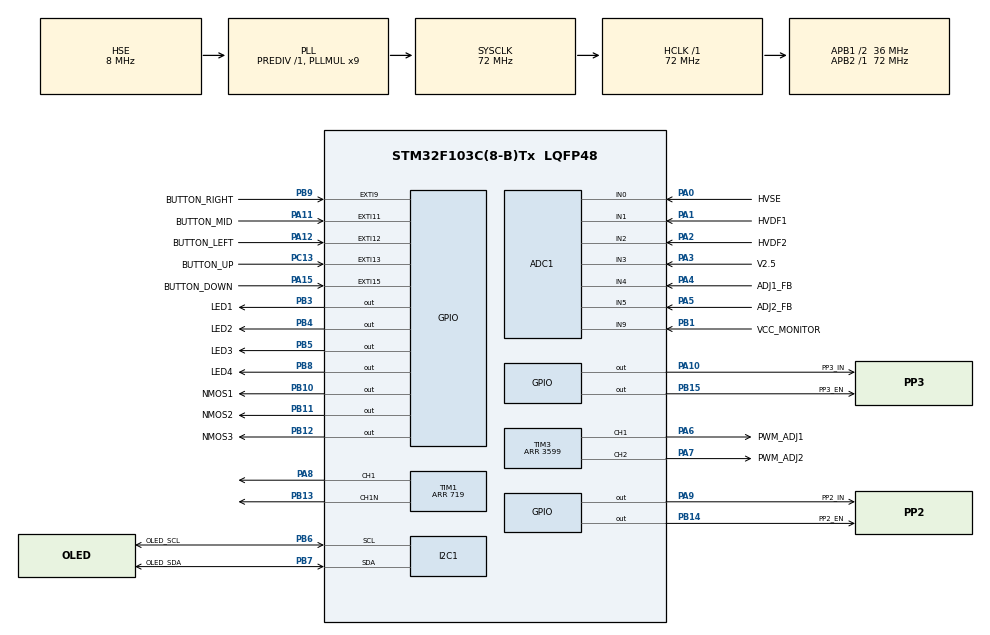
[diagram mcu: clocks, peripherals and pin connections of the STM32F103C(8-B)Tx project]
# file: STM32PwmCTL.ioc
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ADC1.Channel-1\#ChannelRegularConversion=ADC_CHANNEL_0
ADC1.Channel-2\#ChannelRegularConversion=ADC_CHANNEL_1
ADC1.Channel-3\#ChannelRegularConversion=ADC_CHANNEL_2
ADC1.Channel-4\#ChannelRegularConversion=ADC_CHANNEL_3
ADC1.Channel-5\#ChannelRegularConversion=ADC_CHANNEL_4
ADC1.Channel-6\#ChannelRegularConversion=ADC_CHANNEL_5
ADC1.Channel-7\#ChannelRegularConversion=ADC_CHANNEL_9
ADC1.ContinuousConvMode=ENABLE
ADC1.DataAlign=ADC_DATAALIGN_RIGHT
ADC1.NbrOfConversion=7
ADC1.NbrOfConversionFlag=1
ADC1.Rank-1\#ChannelRegularConversion=1
ADC1.Rank-2\#ChannelRegularConversion=2
ADC1.Rank-3\#ChannelRegularConversion=3
ADC1.Rank-4\#ChannelRegularConversion=4
ADC1.Rank-5\#ChannelRegularConversion=5
ADC1.Rank-6\#ChannelRegularConversion=6
ADC1.Rank-7\#ChannelRegularConversion=7
ADC1.SamplingTime-1\#ChannelRegularConversion=ADC_SAMPLETIME_239CYCLES_5
ADC1.SamplingTime-2\#ChannelRegularConversion=ADC_SAMPLETIME_239CYCLES_5
ADC1.SamplingTime-3\#ChannelRegularConversion=ADC_SAMPLETIME_239CYCLES_5
ADC1.SamplingTime-4\#ChannelRegularConversion=ADC_SAMPLETIME_239CYCLES_5
ADC1.SamplingTime-5\#ChannelRegularConversion=ADC_SAMPLETIME_239CYCLES_5
ADC1.SamplingTime-6\#ChannelRegularConversion=ADC_SAMPLETIME_239CYCLES_5
ADC1.SamplingTime-7\#ChannelRegularConversion=ADC_SAMPLETIME_239CYCLES_5
ADC1.master=1
Dma.ADC1.0.Direction=DMA_PERIPH_TO_MEMORY
Dma.ADC1.0.Instance=DMA1_Channel1
Dma.ADC1.0.MemDataAlignment=DMA_MDATAALIGN_HALFWORD
Dma.ADC1.0.MemInc=DMA_MINC_ENABLE
Dma.ADC1.0.Mode=DMA_CIRCULAR
Dma.ADC1.0.PeriphDataAlignment=DMA_PDATAALIGN_HALFWORD
Dma.ADC1.0.PeriphInc=DMA_PINC_DISABLE
Dma.ADC1.0.Priority=DMA_PRIORITY_HIGH
Dma.I2C1_TX.1.Direction=DMA_MEMORY_TO_PERIPH
Dma.I2C1_TX.1.Instance=DMA1_Channel6
Dma.I2C1_TX.1.MemDataAlignment=DMA_MDATAALIGN_BYTE
Dma.I2C1_TX.1.MemInc=DMA_MINC_ENABLE
Dma.I2C1_TX.1.Mode=DMA_NORMAL
Dma.I2C1_TX.1.PeriphDataAlignment=DMA_PDATAALIGN_BYTE
Dma.I2C1_TX.1.PeriphInc=DMA_PINC_DISABLE
Dma.I2C1_TX.1.Priority=DMA_PRIORITY_LOW
Dma.Request0=ADC1
Dma.Request1=I2C1_TX
FREERTOS.BinarySemaphores01=adcDmaSem,Dynamic,NULL,Depleted;i2cTxSem,Dynamic,NULL,Depleted
FREERTOS.Events01=sysEventFlags,Dynamic,NULL
FREERTOS.HEAP_NUMBER=4
FREERTOS.Mutexes01=ADJSetMutex,Dynamic,NULL,Available
FREERTOS.Queues01=buttonQueue,8,8,1,Dynamic,NULL,NULL
FREERTOS.Tasks01=defaultTask,24,128,StartDefaultTask,Default,NULL,Dynamic,NULL,NULL;ADCTask,32,1024,StartADCTask,Default,NULL,Dynamic,NULL,NULL;ControlTask,32,512,StartControlTask,Default,NULL,Dynamic,NULL,NULL;ButtonTask,24,512,StartButtonTask,Default,NULL,Dynamic,NULL,NULL;DisplayTask,16,512,StartDisplayTask,Default,NULL,Dynamic,NULL,NULL
FREERTOS.configMINIMAL_STACK_SIZE=64
FREERTOS.configTOTAL_HEAP_SIZE=12288
I2C1.I2C_Mode=I2C_Standard
Mcu.Family=STM32F1
Mcu.Name=STM32F103C(8-B)Tx
Mcu.Package=LQFP48
NVIC.DMA1_Channel1_IRQn=true\:5\:0\:false\:false\:true\:true\:false\:true\:true
NVIC.DMA1_Channel6_IRQn=true\:5\:0\:false\:false\:true\:true\:false\:true\:true
NVIC.EXTI15_10_IRQn=true\:5\:0\:false\:false\:true\:true\:true\:true\:true
NVIC.EXTI9_5_IRQn=true\:5\:0\:false\:false\:true\:true\:true\:true\:true
NVIC.I2C1_EV_IRQn=true\:5\:0\:false\:false\:true\:true\:true\:true\:true
NVIC.PriorityGroup=NVIC_PRIORITYGROUP_4
PA0-WKUP.GPIO_Label=HVSE
PA0-WKUP.Signal=SharedAnalog_PA0
PA1.GPIO_Label=HVDF1
PA1.Signal=SharedAnalog_PA1
PA10.GPIO_Label=PP3_IN
PA10.PinState=GPIO_PIN_SET
PA10.Signal=GPIO_Output
PA11.GPIO_Label=BUTTON_MID
PA11.GPIO_ModeDefaultEXTI=GPIO_MODE_IT_RISING_FALLING
PA11.GPIO_PuPd=GPIO_PULLUP
PA11.Signal=GPXTI11
PA12.GPIO_Label=BUTTON_LEFT
PA12.GPIO_ModeDefaultEXTI=GPIO_MODE_IT_RISING_FALLING
PA12.GPIO_PuPd=GPIO_PULLUP
PA12.Signal=GPXTI12
PA13.Mode=Serial_Wire
PA13.Signal=SYS_JTMS-SWDIO
PA14.Mode=Serial_Wire
PA14.Signal=SYS_JTCK-SWCLK
PA15.GPIO_Label=BUTTON_DOWN
PA15.GPIO_ModeDefaultEXTI=GPIO_MODE_IT_RISING_FALLING
PA15.GPIO_PuPd=GPIO_PULLUP
PA15.Signal=GPXTI15
PA2.GPIO_Label=HVDF2
PA2.Signal=SharedAnalog_PA2
PA3.GPIO_Label=V2.5
PA3.Signal=SharedAnalog_PA3
PA4.GPIO_Label=ADJ1_FB
PA4.Signal=SharedAnalog_PA4
PA5.GPIO_Label=ADJ2_FB
PA5.Signal=SharedAnalog_PA5
PA6.GPIO_Label=PWM_ADJ1
PA6.Signal=S_TIM3_CH1
PA7.GPIO_Label=PWM_ADJ2
PA7.Signal=S_TIM3_CH2
PA8.Signal=S_TIM1_CH1
PA9.GPIO_Label=PP2_IN
PA9.PinState=GPIO_PIN_SET
PA9.Signal=GPIO_Output
PB1.GPIO_Label=VCC_MONITOR
PB1.Signal=SharedAnalog_PB1
PB10.GPIO_Label=NMOS1
PB10.Signal=GPIO_Output
PB11.GPIO_Label=NMOS2
PB11.Signal=GPIO_Output
PB12.GPIO_Label=NMOS3
PB12.Signal=GPIO_Output
PB13.Mode=PWM Generation1 CH1 CH1N
PB13.Signal=TIM1_CH1N
PB14.GPIO_Label=PP2_EN
PB14.Signal=GPIO_Output
PB15.GPIO_Label=PP3_EN
PB15.Signal=GPIO_Output
PB3.GPIO_Label=LED1
PB3.GPIO_ModeDefaultOutputPP=GPIO_MODE_OUTPUT_PP
PB3.Signal=GPIO_Output
PB4.GPIO_Label=LED2
PB4.GPIO_ModeDefaultOutputPP=GPIO_MODE_OUTPUT_PP
PB4.Signal=GPIO_Output
PB5.GPIO_Label=LED3
PB5.GPIO_ModeDefaultOutputPP=GPIO_MODE_OUTPUT_PP
PB5.Signal=GPIO_Output
PB6.GPIO_Label=OLED_SCL
PB6.Mode=I2C
PB6.Signal=I2C1_SCL
PB7.GPIO_Label=OLED_SDA
PB7.Mode=I2C
PB7.Signal=I2C1_SDA
PB8.GPIO_Label=LED4
PB8.GPIO_ModeDefaultOutputPP=GPIO_MODE_OUTPUT_PP
PB8.Signal=GPIO_Output
PB9.GPIO_Label=BUTTON_RIGHT
PB9.GPIO_ModeDefaultEXTI=GPIO_MODE_IT_RISING_FALLING
PB9.GPIO_PuPd=GPIO_PULLUP
PB9.Signal=GPXTI9
PC13-TAMPER-RTC.GPIO_Label=BUTTON_UP
PC13-TAMPER-RTC.GPIO_ModeDefaultEXTI=GPIO_MODE_IT_RISING_FALLING
PC13-TAMPER-RTC.GPIO_PuPd=GPIO_PULLUP
PC13-TAMPER-RTC.Signal=GPXTI13
PD0-OSC_IN.Mode=HSE-External-Oscillator
PD0-OSC_IN.Signal=RCC_OSC_IN
PD1-OSC_OUT.Mode=HSE-External-Oscillator
PD1-OSC_OUT.Signal=RCC_OSC_OUT
ProjectManager.HeapSize=0x200
ProjectManager.StackSize=0x400
ProjectManager.TargetToolchain=STM32CubeIDE
RCC.ADCPresc=RCC_ADCPCLK2_DIV6
RCC.AHBFreq_Value=72000000
RCC.APB1CLKDivider=RCC_HCLK_DIV2
RCC.APB1Freq_Value=36000000
RCC.APB1TimFreq_Value=72000000
RCC.APB2Freq_Value=72000000
RCC.APB2TimFreq_Value=72000000
RCC.HCLKFreq_Value=72000000
RCC.PLLMUL=RCC_PLL_MUL9
RCC.PLLSourceVirtual=RCC_PLLSOURCE_HSE
RCC.SYSCLKFreq_VALUE=72000000
RCC.SYSCLKSource=RCC_SYSCLKSOURCE_PLLCLK
RCC.USBFreq_Value=72000000
SH.S_TIM1_CH1.0=TIM1_CH1,PWM Generation1 CH1 CH1N
SH.S_TIM3_CH1.0=TIM3_CH1,PWM Generation1 CH1
SH.S_TIM3_CH2.0=TIM3_CH2,PWM Generation2 CH2
SH.SharedAnalog_PA0.0=GPIO_Analog
SH.SharedAnalog_PA0.1=ADC1_IN0,IN0
SH.SharedAnalog_PA1.0=GPIO_Analog
SH.SharedAnalog_PA1.1=ADC1_IN1,IN1
SH.SharedAnalog_PA2.0=GPIO_Analog
SH.SharedAnalog_PA2.1=ADC1_IN2,IN2
SH.SharedAnalog_PA3.0=GPIO_Analog
SH.SharedAnalog_PA3.1=ADC1_IN3,IN3
SH.SharedAnalog_PA4.0=GPIO_Analog
SH.SharedAnalog_PA4.1=ADC1_IN4,IN4
SH.SharedAnalog_PA5.0=GPIO_Analog
SH.SharedAnalog_PA5.1=ADC1_IN5,IN5
SH.SharedAnalog_PB1.0=GPIO_Analog
SH.SharedAnalog_PB1.1=ADC1_IN9,IN9
TIM1.AutomaticOutput=TIM_AUTOMATICOUTPUT_DISABLE
TIM1.Channel-PWM\ Generation1\ CH1=TIM_CHANNEL_1
TIM1.Channel-PWM\ Generation1\ CH1\ CH1N=TIM_CHANNEL_1
TIM1.OCFastMode_PWM-PWM\ Generation1\ CH1\ CH1N=TIM_OCFAST_ENABLE
TIM1.Period=719
TIM1.Pulse-PWM\ Generation1\ CH1\ CH1N=360
TIM3.AutoReloadPreload=TIM_AUTORELOAD_PRELOAD_ENABLE
TIM3.Channel-PWM\ Generation1\ CH1=TIM_CHANNEL_1
TIM3.Channel-PWM\ Generation2\ CH2=TIM_CHANNEL_2
TIM3.Period=3599
VP_FREERTOS_VS_CMSIS_V2.Mode=CMSIS_V2
VP_TIM1_VS_ClockSourceINT.Mode=Internal
board=custom

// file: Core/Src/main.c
/* USER CODE BEGIN Header */
/**
  ******************************************************************************
  * @file           : main.c
  * @brief          : Main program body
  ******************************************************************************
  * @attention
  *
  * Copyright (c) 2025 STMicroelectronics.
  * All rights reserved.
  *
  * This software is licensed under terms that can be found in the LICENSE file
  * in the root directory of this software component.
  * If no LICENSE file comes with this software, it is provided AS-IS.
  *
  ******************************************************************************
  */
/* USER CODE END Header */
#include "main.h"
#include "cmsis_os.h"
#include "adc.h"
#include "dma.h"
#include "i2c.h"
#include "tim.h"
#include "gpio.h"

/* USER CODE BEGIN PD */
extern osSemaphoreId_t i2cTxSemHandle;
/* USER CODE END PD */

void SystemClock_Config(void);
void MX_FREERTOS_Init(void);

int main(void)
{

  /* MCU Configuration--------------------------------------------------------*/

  /* Reset of all peripherals, Initializes the Flash interface and the Systick. */
  HAL_Init();

  /* Configure the system clock */
  SystemClock_Config();

  /* Initialize all configured peripherals */
  MX_GPIO_Init();
  MX_DMA_Init();
  MX_I2C1_Init();
  MX_ADC1_Init();
  MX_TIM3_Init();
  MX_TIM1_Init();

  /* Init scheduler */
  osKernelInitialize();  /* Call init function for freertos objects (in cmsis_os2.c) */
  MX_FREERTOS_Init();

  /* Start scheduler */
  osKernelStart();

  /* We should never get here as control is now taken by the scheduler */

  /* Infinite loop */
  while (1)
  {

  }
}

void SystemClock_Config(void)
{
  RCC_OscInitTypeDef RCC_OscInitStruct = {0};
  RCC_ClkInitTypeDef RCC_ClkInitStruct = {0};
  RCC_PeriphCLKInitTypeDef PeriphClkInit = {0};

  /** Initializes the RCC Oscillators according to the specified parameters
  * in the RCC_OscInitTypeDef structure.
  */
  RCC_OscInitStruct.OscillatorType = RCC_OSCILLATORTYPE_HSE;
  RCC_OscInitStruct.HSEState = RCC_HSE_ON;
  RCC_OscInitStruct.HSEPredivValue = RCC_HSE_PREDIV_DIV1;
  RCC_OscInitStruct.HSIState = RCC_HSI_ON;
  RCC_OscInitStruct.PLL.PLLState = RCC_PLL_ON;
  RCC_OscInitStruct.PLL.PLLSource = RCC_PLLSOURCE_HSE;
  RCC_OscInitStruct.PLL.PLLMUL = RCC_PLL_MUL9;
  if (HAL_RCC_OscConfig(&RCC_OscInitStruct) != HAL_OK)
  {
    Error_Handler();
  }

  /** Initializes the CPU, AHB and APB buses clocks
  */
  RCC_ClkInitStruct.ClockType = RCC_CLOCKTYPE_HCLK|RCC_CLOCKTYPE_SYSCLK
                              |RCC_CLOCKTYPE_PCLK1|RCC_CLOCKTYPE_PCLK2;
  RCC_ClkInitStruct.SYSCLKSource = RCC_SYSCLKSOURCE_PLLCLK;
  RCC_ClkInitStruct.AHBCLKDivider = RCC_SYSCLK_DIV1;
  RCC_ClkInitStruct.APB1CLKDivider = RCC_HCLK_DIV2;
  RCC_ClkInitStruct.APB2CLKDivider = RCC_HCLK_DIV1;

  if (HAL_RCC_ClockConfig(&RCC_ClkInitStruct, FLASH_LATENCY_2) != HAL_OK)
  {
    Error_Handler();
  }
  PeriphClkInit.PeriphClockSelection = RCC_PERIPHCLK_ADC;
  PeriphClkInit.AdcClockSelection = RCC_ADCPCLK2_DIV6;
  if (HAL_RCCEx_PeriphCLKConfig(&PeriphClkInit) != HAL_OK)
  {
    Error_Handler();
  }
}

/* USER CODE BEGIN 4 */
void HAL_I2C_Master_Transmit_CpltCallback(I2C_HandleTypeDef *hi2c) {
    if (hi2c->Instance == I2C1) {
        osSemaphoreRelease(i2cTxSemHandle);
    }
}
/* USER CODE END 4 */

void Error_Handler(void)
{
  __disable_irq();
  while (1)
  {
  }
}

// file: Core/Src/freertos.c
/* USER CODE BEGIN Header */
/**
  ******************************************************************************
  * File Name          : freertos.c
  * Description        : Code for freertos applications
  ******************************************************************************
  * @attention
  *
  * Copyright (c) 2025 STMicroelectronics.
  * All rights reserved.
  *
  ******************************************************************************
  */
/* USER CODE END Header */

#include "FreeRTOS.h"
#include "task.h"
#include "main.h"
#include "cmsis_os.h"

/* USER CODE BEGIN Includes */
#include "power_switch.h"
#include "shared_data.h"
#include "adc.h"
#include "tim.h"
#include <string.h>
#include "LED.h"
#include "u8g2.h"
#include <stdio.h>
#include <stdbool.h>
#include <math.h>
/* USER CODE END Includes */

/* USER CODE BEGIN PD */

/* ====== 数控电源参数（按你描述）====== */
/* 输出级：Vout = 8 * Vref_equiv；Vref_equiv 来自 PWM 经 RC 滤波形成的等效 DAC 电压 */
#define PSU_GAIN_OUT              (8.0f)

/* 反馈分压：Vfb = Vout * (R_BOT / (R_TOP + R_BOT)) */
#define FB_R_TOP_OHM              (30000.0f)
#define FB_R_BOT_OHM              (1800.0f)

/* ADC 量化：按你说“满量程 4096”，这里用 4096.0f（STM32 12bit 实际满量程码为 4095） */
#define ADC_FULL_SCALE_F          (4096.0f)

/* PA3：2.5V 标定电压芯片（用于推算 VDDA/3.3V） */
#define VREF_CAL_VOLT             (2.500f)

/* 输出电压设定范围（按常见 0~24V，若你硬件不同可改） */
#define VSET_MIN_V                (0.0f)
#define VSET_MAX_V                (24.0f)

/* 控制周期（ControlTask） */
#define CTRL_PERIOD_MS            (10U)
#define CTRL_DT_S                 (0.010f)

/* 积分参数（前馈 + 慢积分补偿）
   error 单位: V，积分输出单位: duty (0..1)
   integ += Ki * error * dt
*/
#define CTRL_KI                   (0.25f)   /* 可按实际响应调：小则更稳但更慢 */
#define INTEG_LIMIT               (0.25f)   /* 积分限幅，防 windup */

/* Duty 限幅 */
#define DUTY_MIN                  (0.0f)
#define DUTY_MAX                  (1.0f)

/* ADC 低通滤波（EMA）alpha：越小越慢、越稳 */
#define ADC_EMA_ALPHA             (0.05f)

/* USER CODE END PD */

/* USER CODE BEGIN Variables */

/* ====== 共享：设定值 / 测量值 / duty（用 mutex 保护）====== */
static float s_vset_v = 12.0f;      /* 设定输出电压 */
static float s_vout_v = 0.0f;       /* 测得输出电压 */
static float s_vfb_v  = 0.0f;       /* 测得反馈点电压（PA4） */
static float s_vdda_v = 3.30f;      /* 推算的 VDDA（ADC 参考 & PWM 高电平） */
static float s_duty_cmd = 0.0f;     /* 最终输出占空比（写 TIM1 CH1） */

/* EMA 状态（内部用，无需 mutex：仅 ADCTask 写，Control/UI 读时用 mutex 拷贝即可） */
static float s_ema_v25_adc = 0.0f;  /* PA3 ADC 原码 EMA */
static float s_ema_vfb_adc = 0.0f;  /* PA4 ADC 原码 EMA */

/* 控制积分项 */
static float s_integ = 0.0f;

/* USER CODE END Variables */
/* Definitions for defaultTask */
osThreadId_t defaultTaskHandle;
const osThreadAttr_t defaultTask_attributes = {
  .name = "defaultTask",
  .stack_size = 128 * 4,
  .priority = (osPriority_t) osPriorityNormal,
};
/* Definitions for ADCTask */
osThreadId_t ADCTaskHandle;
const osThreadAttr_t ADCTask_attributes = {
  .name = "ADCTask",
  .stack_size = 1024 * 4,
  .priority = (osPriority_t) osPriorityAboveNormal,
};
/* Definitions for ControlTask */
osThreadId_t ControlTaskHandle;
const osThreadAttr_t ControlTask_attributes = {
  .name = "ControlTask",
  .stack_size = 512 * 4,
  .priority = (osPriority_t) osPriorityAboveNormal,
};
/* Definitions for ButtonTask */
osThreadId_t ButtonTaskHandle;
const osThreadAttr_t ButtonTask_attributes = {
  .name = "ButtonTask",
  .stack_size = 512 * 4,
  .priority = (osPriority_t) osPriorityNormal,
};
/* Definitions for DisplayTask */
osThreadId_t DisplayTaskHandle;
const osThreadAttr_t DisplayTask_attributes = {
  .name = "DisplayTask",
  .stack_size = 512 * 4,
  .priority = (osPriority_t) osPriorityBelowNormal,
};
/* Definitions for buttonQueue */
osMessageQueueId_t buttonQueueHandle;
const osMessageQueueAttr_t buttonQueue_attributes = {
  .name = "buttonQueue"
};
/* Definitions for ADJSetMutex */
osMutexId_t ADJSetMutexHandle;
const osMutexAttr_t ADJSetMutex_attributes = {
  .name = "ADJSetMutex"
};
/* Definitions for adcDmaSem */
osSemaphoreId_t adcDmaSemHandle;
const osSemaphoreAttr_t adcDmaSem_attributes = {
  .name = "adcDmaSem"
};
/* Definitions for i2cTxSem */
osSemaphoreId_t i2cTxSemHandle;
const osSemaphoreAttr_t i2cTxSem_attributes = {
  .name = "i2cTxSem"
};
/* Definitions for sysEventFlags */
osEventFlagsId_t sysEventFlagsHandle;
const osEventFlagsAttr_t sysEventFlags_attributes = {
  .name = "sysEventFlags"
};

/* USER CODE BEGIN Variables_Extra */
/* （可选）如你想把测量/设定拆开 mutex，也可以新增；这里复用 ADJSetMutexHandle 统一保护 */
/* USER CODE END Variables_Extra */

/* USER CODE BEGIN FunctionPrototypes */
static inline float clampf(float x, float lo, float hi)
{
  if (x < lo) return lo;
  if (x > hi) return hi;
  return x;
}

static inline float ema_update(float prev, float x, float a)
{
  return prev + a * (x - prev);
}
/* USER CODE END FunctionPrototypes */

void StartDefaultTask(void *argument);
void StartADCTask(void *argument);
void StartControlTask(void *argument);
void StartButtonTask(void *argument);
void StartDisplayTask(void *argument);

void MX_FREERTOS_Init(void); /* (MISRA C 2004 rule 8.1) */

void MX_FREERTOS_Init(void) {

  /* Create the mutex(es) */
  /* creation of ADJSetMutex */
  ADJSetMutexHandle = osMutexNew(&ADJSetMutex_attributes);

  /* Create the semaphores(s) */
  /* creation of adcDmaSem */
  adcDmaSemHandle = osSemaphoreNew(1, 0, &adcDmaSem_attributes);

  /* creation of i2cTxSem */
  i2cTxSemHandle = osSemaphoreNew(1, 0, &i2cTxSem_attributes);

  /* Create the queue(s) */
  /* creation of buttonQueue */
  buttonQueueHandle = osMessageQueueNew (8, 8, &buttonQueue_attributes);

  /* Create the thread(s) */
  /* creation of defaultTask */
  defaultTaskHandle = osThreadNew(StartDefaultTask, NULL, &defaultTask_attributes);

  /* creation of ADCTask */
  ADCTaskHandle = osThreadNew(StartADCTask, NULL, &ADCTask_attributes);

  /* creation of ControlTask */
  ControlTaskHandle = osThreadNew(StartControlTask, NULL, &ControlTask_attributes);

  /* creation of ButtonTask */
  ButtonTaskHandle = osThreadNew(StartButtonTask, NULL, &ButtonTask_attributes);

  /* creation of DisplayTask */
  DisplayTaskHandle = osThreadNew(StartDisplayTask, NULL, &DisplayTask_attributes);

  /* creation of sysEventFlags */
  sysEventFlagsHandle = osEventFlagsNew(&sysEventFlags_attributes);

}

void StartDefaultTask(void *argument)
{
  /* USER CODE BEGIN StartDefaultTask */
  for(;;)
  {
    osDelay(1000);
  }
  /* USER CODE END StartDefaultTask */
}

/* USER CODE BEGIN Header_StartADCTask */
/**
* @brief Function implementing the ADCTask thread.
*        - 启动 ADC1 DMA 循环采样
*        - 使用 PA3(2.5V) 推算 VDDA
*        - 使用 PA4(FB) 计算 Vout
*        - 对 ADC 原码做 EMA 滤波
* @param argument: Not used
* @retval None
*/
/* USER CODE END Header_StartADCTask */
void StartADCTask(void *argument)
{
  /* USER CODE BEGIN StartADCTask */

  /* adc.c 里定义的 DMA 缓冲区（7通道） */
  extern uint16_t adc_buffer[7];
  extern ADC_HandleTypeDef hadc1;

  /* ADC 校准（F1 支持） */
  (void)HAL_ADCEx_Calibration_Start(&hadc1);

  /* 启动 DMA */
  if (HAL_ADC_Start_DMA(&hadc1, (uint32_t*)adc_buffer, 7) != HAL_OK) {
    /* 如果启动失败，仍然让任务跑着，避免系统卡死 */
  }

  /* 初始化 EMA 为当前值，避免启动时跳变 */
  osDelay(50);
  {
    float a25 = (float)adc_buffer[3]; /* Rank4: ADC_CHANNEL_3 -> PA3 -> V2_5 */
    float afb = (float)adc_buffer[4]; /* Rank5: ADC_CHANNEL_4 -> PA4 -> Feedback */
    s_ema_v25_adc = a25;
    s_ema_vfb_adc = afb;
  }

  for (;;)
  {
    /* 等待 DMA half/full 完成回调释放信号量（你在 adc.c 的 ConvCpltCallback 里 release 了） */
    if (osSemaphoreAcquire(adcDmaSemHandle, osWaitForever) != osOK) {
      continue;
    }

    /* 取本次 DMA buffer 的目标通道 */
    float adc_v25 = (float)adc_buffer[3];  /* PA3 */
    float adc_vfb = (float)adc_buffer[4];  /* PA4 */

    /* EMA 滤波（对 ADC 原码做） */
    s_ema_v25_adc = ema_update(s_ema_v25_adc, adc_v25, ADC_EMA_ALPHA);
    s_ema_vfb_adc = ema_update(s_ema_vfb_adc, adc_vfb, ADC_EMA_ALPHA);

    /* 用 2.5V 推算 VDDA（ADC参考/供电） */
    float vdda = s_vdda_v;
    if (s_ema_v25_adc > 1.0f) {
      vdda = VREF_CAL_VOLT * (ADC_FULL_SCALE_F / s_ema_v25_adc);
    }
    /* 合理限幅（防止异常时算飞） */
    vdda = clampf(vdda, 2.8f, 3.6f);

    /* 计算 Vfb / Vout */
    float vfb = (s_ema_vfb_adc / ADC_FULL_SCALE_F) * vdda;
    float vout = vfb * ((FB_R_TOP_OHM + FB_R_BOT_OHM) / FB_R_BOT_OHM);

    /* 写共享数据 */
    if (osMutexAcquire(ADJSetMutexHandle, 5) == osOK) {
      s_vdda_v = vdda;
      s_vfb_v  = vfb;
      s_vout_v = vout;
      osMutexRelease(ADJSetMutexHandle);
    } else {
      /* 兜底：尽量不发生 */
      s_vdda_v = vdda;
      s_vfb_v  = vfb;
      s_vout_v = vout;
    }
  }

  /* USER CODE END StartADCTask */
}

/* USER CODE BEGIN Header_StartControlTask */
/**
* @brief Function implementing the ControlTask thread.
*        - 输出 PA8(TIM1_CH1) PWM 到 RC 形成等效 DAC
*        - 控制策略：前馈 + 慢积分
*          duty_ff = (Vset/8) / VDDA
*          duty = duty_ff + integ
*          integ += Ki * (Vset - Vout_meas) * dt
*        - 写 TIM1 CCR1
* @param argument: Not used
* @retval None
*/
/* USER CODE END Header_StartControlTask */
void StartControlTask(void *argument)
{
  /* USER CODE BEGIN StartControlTask */

  /* 启动 TIM1 CH1 及互补输出 CH1N（如果你只用 PA8，可保留也可删 CH1N） */
  HAL_TIM_PWM_Start(&htim1, TIM_CHANNEL_1);
  HAL_TIMEx_PWMN_Start(&htim1, TIM_CHANNEL_1);

  uint32_t arr = __HAL_TIM_GET_AUTORELOAD(&htim1);
  if (arr == 0) arr = 1;

  for (;;)
  {
    float vset, vout, vdda;

    /* 读取共享测量/设定 */
    if (osMutexAcquire(ADJSetMutexHandle, 5) == osOK) {
      vset = s_vset_v;
      vout = s_vout_v;
      vdda = s_vdda_v;
      osMutexRelease(ADJSetMutexHandle);
    } else {
      vset = s_vset_v;
      vout = s_vout_v;
      vdda = s_vdda_v;
    }

    /* 前馈：Vref_equiv = Vset / 8；Vref_equiv = duty * VDDA */
    float duty_ff = 0.0f;
    if (vdda > 0.1f) {
      duty_ff = (vset / PSU_GAIN_OUT) / vdda;
    }
    duty_ff = clampf(duty_ff, DUTY_MIN, DUTY_MAX);

    /* 误差（V） */
    float err = vset - vout;

    /* 慢积分补偿 */
    s_integ += (CTRL_KI * err * CTRL_DT_S);
    s_integ = clampf(s_integ, -INTEG_LIMIT, INTEG_LIMIT);

    /* 合成 duty 并限幅 */
    float duty = duty_ff + s_integ;
    duty = clampf(duty, DUTY_MIN, DUTY_MAX);

    /* 写 PWM */
    uint32_t cmp = (uint32_t)(duty * (float)(arr + 1u));
    if (cmp > arr) cmp = arr;
    __HAL_TIM_SET_COMPARE(&htim1, TIM_CHANNEL_1, cmp);

    /* 写共享给 UI/调试 */
    if (osMutexAcquire(ADJSetMutexHandle, 2) == osOK) {
      s_duty_cmd = duty;
      osMutexRelease(ADJSetMutexHandle);
    } else {
      s_duty_cmd = duty;
    }

    /* 你原来使用的 shared_data 示例保留：用于外部查看 compare */
    g_pwm_cmd.pwm1 = (uint16_t)cmp;

    osDelay(CTRL_PERIOD_MS);
  }

  /* USER CODE END StartControlTask */
}

/* USER CODE BEGIN Header_StartButtonTask */
/**
* @brief Function implementing the ButtonTask thread.
*        - 用 UP/DOWN 调整“输出电压设定值 Vset”
*        - 短按：小步进；按住：连发大步进
*        - 其余按键保留结构，后续可扩展（例如 MID 切换输出使能等）
* @param argument: Not used
* @retval None
*/
/* USER CODE END Header_StartButtonTask */
void StartButtonTask(void *argument)
{
  /* USER CODE BEGIN StartButtonTask */
  #define NUM_KEYS 5
  #define DEBOUNCE_TICKS 20   // 20 ms
  #define REPEAT_PERIOD   80  // 80 ms repeat period
  #define REPEAT_START    400 // 400 ms after press starts repeat

  typedef struct {
      bool     pressed;
      uint32_t press_tick;
      uint32_t last_evt_tick;
      uint32_t last_repeat_tick;
  } KeyState_t;

  static KeyState_t keys[NUM_KEYS] = {0};

  GPIO_TypeDef* key_ports[NUM_KEYS] = { BUTTON_UP_GPIO_Port,
                                        BUTTON_DOWN_GPIO_Port,
                                        BUTTON_LEFT_GPIO_Port,
                                        BUTTON_RIGHT_GPIO_Port,
                                        BUTTON_MID_GPIO_Port };
  uint16_t key_pins[NUM_KEYS] = { BUTTON_UP_Pin,
                                  BUTTON_DOWN_Pin,
                                  BUTTON_LEFT_Pin,
                                  BUTTON_RIGHT_Pin,
                                  BUTTON_MID_Pin };

  BtnEvent_t evt;
  osStatus_t status;
  uint32_t now;

  /* 电压步进：可按你想要的 UI 手感改 */
  const float step_short_v = 0.10f;  /* 短按 0.10V */
  const float step_long_v  = 0.50f;  /* 连发 0.50V */

  for (;;)
  {
    bool any_pressed = false;
    for (int i = 0; i < NUM_KEYS; i++) {
      if (keys[i].pressed) { any_pressed = true; break; }
    }

    uint32_t timeout = any_pressed ? REPEAT_PERIOD : osWaitForever;
    status = osMessageQueueGet(buttonQueueHandle, &evt, NULL, timeout);
    now = xTaskGetTickCount();

    /* 处理来自 ISR 的按键事件（消抖 + 立即动作） */
    if (status == osOK) {
      if (evt.key_id < NUM_KEYS) {
        KeyState_t *k = &keys[evt.key_id];

        if ((evt.tick - k->last_evt_tick) >= DEBOUNCE_TICKS) {
          k->last_evt_tick = evt.tick;

          if (evt.type == BTN_EVENT_PRESS) {
            if (!k->pressed) {
              k->pressed = true;
              k->press_tick = evt.tick;
              k->last_repeat_tick = evt.tick;

              /* 立即动作：UP/DOWN 调 Vset */
              if (evt.key_id == 0 || evt.key_id == 1) {
                if (osMutexAcquire(ADJSetMutexHandle, 10) == osOK) {
                  if (evt.key_id == 0) s_vset_v += step_short_v;  /* UP */
                  else                 s_vset_v -= step_short_v;  /* DOWN */
                  s_vset_v = clampf(s_vset_v, VSET_MIN_V, VSET_MAX_V);
                  osMutexRelease(ADJSetMutexHandle);
                } else {
                  if (evt.key_id == 0) s_vset_v += step_short_v;
                  else                 s_vset_v -= step_short_v;
                  s_vset_v = clampf(s_vset_v, VSET_MIN_V, VSET_MAX_V);
                }
              }

              /* 你后续可以扩展：
                 - LEFT/RIGHT 改变步进大小
                 - MID 切换输出 enable / 清积分等
              */
            }
          } else { /* RELEASE */
            if (k->pressed) {
              k->pressed = false;
              k->last_repeat_tick = 0;
            }
          }
        }
      }
    }

    /* 按住连发 + 物理确认避免卡死 */
    for (int i = 0; i < NUM_KEYS; i++) {
      KeyState_t *k = &keys[i];
      if (!k->pressed) continue;

      /* 物理确认：松开则清状态（GPIO 上拉，按下为 RESET） */
      if (HAL_GPIO_ReadPin(key_ports[i], key_pins[i]) != GPIO_PIN_RESET) {
        k->pressed = false;
        continue;
      }

      uint32_t held = now - k->press_tick;

      if ((i == 0 || i == 1) && held >= REPEAT_START) {
        if ((now - k->last_repeat_tick) >= REPEAT_PERIOD) {
          if (osMutexAcquire(ADJSetMutexHandle, 10) == osOK) {
            if (i == 0) s_vset_v += step_long_v;
            else        s_vset_v -= step_long_v;
            s_vset_v = clampf(s_vset_v, VSET_MIN_V, VSET_MAX_V);
            osMutexRelease(ADJSetMutexHandle);
          } else {
            if (i == 0) s_vset_v += step_long_v;
            else        s_vset_v -= step_long_v;
            s_vset_v = clampf(s_vset_v, VSET_MIN_V, VSET_MAX_V);
          }
          k->last_repeat_tick = now;
        }
      }
    }
  }
  /* USER CODE END StartButtonTask */
}

/* USER CODE BEGIN Header_StartDisplayTask */
/**
* @brief Function implementing the DisplayTask thread.
*        u8g2 UI：显示
*          - 设定电压 Vset
*          - 实测电压 Vout
*          - VDDA(由2.5V标定推算)
*          - PWM duty
*        并提供简单进度条
* @param argument: Not used
* @retval None
*/
/* USER CODE END Header_StartDisplayTask */
/* ===== 手动格式化辅助函数（放在 freertos.c 顶部 USER CODE BEGIN FunctionPrototypes 附近也行） ===== */
static void fmt_u32_zeropad(char *dst, uint32_t val, uint8_t width)
{
  /* 把 val 以 width 位十进制、左侧补 0 写到 dst，写完不加 '\0' */
  for (int i = (int)width - 1; i >= 0; --i) {
    dst[i] = (char)('0' + (val % 10u));
    val /= 10u;
  }
}

static void fmt_v_x100(char *out, const char *prefix, float v) /* 0.01V */
{
  /* 输出形如: "SET: 12.34 V" / "OUT:  0.05 V" （整数部分最少2位，左侧空格） */
  int32_t x = (int32_t)(v * 100.0f + (v >= 0 ? 0.5f : -0.5f));
  if (x < 0) x = 0; /* 这里按你的电源不需要负电压，防御 */

  uint32_t ip = (uint32_t)(x / 100);
  uint32_t fp = (uint32_t)(x % 100);

  /* prefix 拷贝 */
  char *p = out;
  while (*prefix) *p++ = *prefix++;

  /* 整数部分：至少2位，左侧空格（比如 " 0" ~ "99"），更大就自然扩展 */
  if (ip < 10) {
    *p++ = ' ';
    *p++ = (char)('0' + ip);
  } else if (ip < 100) {
    *p++ = (char)('0' + (ip / 10));
    *p++ = (char)('0' + (ip % 10));
  } else {
    /* >=100：不补空格，直接写（最多到 9999 都行） */
    /* 简单起见写 4 位上限，你可按需求扩 */
    uint32_t tmp = ip;
    char buf[10];
    int n = 0;
    do { buf[n++] = (char)('0' + (tmp % 10u)); tmp /= 10u; } while (tmp && n < (int)sizeof(buf));
    for (int i = n - 1; i >= 0; --i) *p++ = buf[i];
  }

  *p++ = '.';
  fmt_u32_zeropad(p, fp, 2); p += 2;

  *p++ = ' ';
  *p++ = 'V';
  *p++ = '\0';
}

static void fmt_vdda_and_duty(char *out, float vdda, float duty)
{
  /* 输出形如: "VDDA:3.300  Duty: 75%" */
  int32_t mv = (int32_t)(vdda * 1000.0f + (vdda >= 0 ? 0.5f : -0.5f)); /* mV */
  if (mv < 0) mv = 0;
  uint32_t ip = (uint32_t)(mv / 1000);
  uint32_t fp = (uint32_t)(mv % 1000);

  int32_t pct = (int32_t)(duty * 100.0f + 0.5f);
  if (pct < 0) pct = 0;
  if (pct > 100) pct = 100;

  char *p = out;

  /* "VDDA:" */
  *p++='V';*p++='D';*p++='D';*p++='A';*p++=':';

  /* ip（1位够用：3） */
  *p++ = (char)('0' + (ip % 10u));

  *p++='.';
  fmt_u32_zeropad(p, fp, 3); p += 3;

  *p++=' '; *p++=' '; /* 两个空格 */

  /* "Duty:" */
  *p++='D';*p++='u';*p++='t';*p++='y';*p++=':';

  /* 百分比宽度3，左侧空格（"  0".."100"） */
  if (pct < 10) {
    *p++=' '; *p++=' ';
    *p++=(char)('0'+pct);
  } else if (pct < 100) {
    *p++=' ';
    *p++=(char)('0'+(pct/10));
    *p++=(char)('0'+(pct%10));
  } else { /* 100 */
    *p++='1'; *p++='0'; *p++='0';
  }

  *p++='%';
  *p++='\0';
}

void StartDisplayTask(void *argument)
{
  /* USER CODE BEGIN StartDisplayTask */
  extern uint8_t u8x8_byte_stm32_hw_i2c(u8x8_t *u8x8, uint8_t msg, uint8_t arg_int, void *arg_ptr);
  extern uint8_t u8x8_gpio_and_delay_stm32(u8x8_t *u8x8, uint8_t msg, uint8_t arg_int, void *arg_ptr);

  u8g2_t u8g2;
  u8g2_Setup_sh1106_i2c_128x64_noname_f(&u8g2, U8G2_R0,
                                       u8x8_byte_stm32_hw_i2c,
                                       u8x8_gpio_and_delay_stm32);
  u8g2_InitDisplay(&u8g2);
  u8g2_SetPowerSave(&u8g2, 0);

  /* 本 UI 目标：突出“设定电压”居中大字，其余信息小字放角落 */
  char line[32];

  for (;;)
  {
    float vset, vout, vdda, duty;

    if (osMutexAcquire(ADJSetMutexHandle, 5) == osOK) {
      vset = s_vset_v;
      vout = s_vout_v;
      vdda = s_vdda_v;
      duty = s_duty_cmd;
      osMutexRelease(ADJSetMutexHandle);
    } else {
      vset = s_vset_v;
      vout = s_vout_v;
      vdda = s_vdda_v;
      duty = s_duty_cmd;
    }

    /* 清屏 */
    u8g2_ClearBuffer(&u8g2);

    /* ===== 中间大字：设定电压 =====
       用 0.01V 分辨率，格式类似 "12.34V"
       选一个较大的字体（u8g2 常见大字库），如你固件里没编进该字体，可换成其它 *_tf 字体
    */
    {
      /* 组装 "xx.xxV"（手动格式化，避免 snprintf 浮点） */
      int32_t x = (int32_t)(vset * 100.0f + (vset >= 0 ? 0.5f : -0.5f));
      if (x < 0) x = 0;
      uint32_t ip = (uint32_t)(x / 100);
      uint32_t fp = (uint32_t)(x % 100);

      char big[16];
      char *p = big;

      /* 整数部分：最多 3 位显示（0~999），更大可自行扩展 */
      if (ip >= 100) {
        *p++ = (char)('0' + (ip / 100));
        *p++ = (char)('0' + ((ip / 10) % 10));
        *p++ = (char)('0' + (ip % 10));
      } else if (ip >= 10) {
        *p++ = (char)('0' + (ip / 10));
        *p++ = (char)('0' + (ip % 10));
      } else {
        *p++ = (char)('0' + ip);
      }

      *p++ = '.';
      *p++ = (char)('0' + (fp / 10));
      *p++ = (char)('0' + (fp % 10));
      *p++ = 'V';
      *p++ = '\0';

      /* 大字字体 + 居中绘制 */
      u8g2_SetFont(&u8g2, u8g2_font_logisoso24_tf); /* 大字：约 24px 高 */
      int w = u8g2_GetStrWidth(&u8g2, big);
      int x0 = (128 - w) / 2;
      if (x0 < 0) x0 = 0;

      /* 垂直位置：让大字主体在屏幕中间偏下更好看 */
      int baseline_y = 44; /* 经验值：64 高度屏，大字 24 左右时 42~46 比较合适 */
      u8g2_DrawStr(&u8g2, x0, baseline_y, big);
    }

    /* ===== 小字信息：左上 OUT，右上 VDDA，右下 DUTY ===== */
    u8g2_SetFont(&u8g2, u8g2_font_6x10_tr);

    /* 左上：OUT:xx.xxV */
    {
      /* 复用你已有的 fmt_v_x100()，它输出如 "OUT: 12.34 V" */
      /* 为了更紧凑，prefix 给 "OUT:"，并把末尾空格+V 改成紧凑版（这里直接手动组更短） */
      int32_t x = (int32_t)(vout * 100.0f + (vout >= 0 ? 0.5f : -0.5f));
      if (x < 0) x = 0;
      uint32_t ip = (uint32_t)(x / 100);
      uint32_t fp = (uint32_t)(x % 100);

      char s[16];
      char *p = s;
      *p++='O';*p++='U';*p++='T';*p++=':';

      if (ip >= 100) {
        *p++ = (char)('0' + (ip / 100));
        *p++ = (char)('0' + ((ip / 10) % 10));
        *p++ = (char)('0' + (ip % 10));
      } else if (ip >= 10) {
        *p++ = (char)('0' + (ip / 10));
        *p++ = (char)('0' + (ip % 10));
      } else {
        *p++ = (char)('0' + ip);
      }
      *p++='.';
      *p++ = (char)('0' + (fp / 10));
      *p++ = (char)('0' + (fp % 10));
      *p++='V';
      *p++='\0';

      u8g2_DrawStr(&u8g2, 0, 12, s);
    }

    /* 右上：VDD: x.xxx */
    {
      int32_t mv = (int32_t)(vdda * 1000.0f + (vdda >= 0 ? 0.5f : -0.5f));
      if (mv < 0) mv = 0;
      uint32_t ip = (uint32_t)(mv / 1000);
      uint32_t fp = (uint32_t)(mv % 1000);

      char s[16];
      char *p = s;
      *p++='V';*p++='D';*p++='D';*p++=':';
      *p++ = (char)('0' + (ip % 10u));
      *p++='.';
      /* 3 位小数补零 */
      p[0] = (char)('0' + (fp / 100));
      p[1] = (char)('0' + ((fp / 10) % 10));
      p[2] = (char)('0' + (fp % 10));
      p += 3;
      *p++='\0';

      int w = u8g2_GetStrWidth(&u8g2, s);
      int x0 = 128 - w;
      if (x0 < 0) x0 = 0;
      u8g2_DrawStr(&u8g2, x0, 12, s);
    }

    /* 右下：DUTY:xxx% */
    {
      int32_t pct = (int32_t)(duty * 100.0f + 0.5f);
      if (pct < 0) pct = 0;
      if (pct > 100) pct = 100;

      char s[16];
      char *p = s;
      *p++='D';*p++=':';

      /* 宽度 3，左侧空格 */
      if (pct < 10) {
        *p++=' ';*p++=' ';
        *p++=(char)('0'+pct);
      } else if (pct < 100) {
        *p++=' ';
        *p++=(char)('0'+(pct/10));
        *p++=(char)('0'+(pct%10));
      } else {
        *p++='1';*p++='0';*p++='0';
      }
      *p++='%';
      *p++='\0';

      int w = u8g2_GetStrWidth(&u8g2, s);
      int x0 = 128 - w;
      if (x0 < 0) x0 = 0;
      u8g2_DrawStr(&u8g2, x0, 63, s); /* 63 接近底部 */
    }

    /* 刷新 */
    u8g2_SendBuffer(&u8g2);

    /* 不加 osDelay：你要求 displayTask 最低优先级，靠调度自然限帧 */
  }
  /* USER CODE END StartDisplayTask */
}
